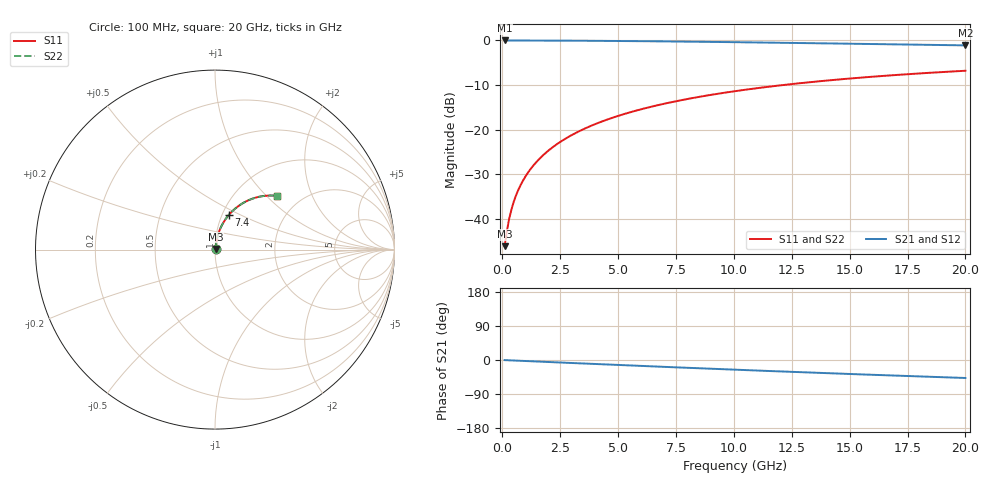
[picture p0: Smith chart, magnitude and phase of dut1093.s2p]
! Touchstone file exported from HFSS 2026.1.0
!  File:  C:/ffzhzh/LocalFiles/Ansys_Project_Files/temp_train_TMRDL_1093_1783161119_18472.aedt
!  Generated:  06:33:13 PM Jul  4, 2026
!  Design:  TMRDL
!  Project:  temp_train_TMRDL_1093_1783161119_18472
! Variables:
!  h_bsmrdl = 2um
!  h_ox = 20um
!  h_rdl = 5um
!  h_sub = 80um
!  h_tmrdl = 3.58um
!  h_tsv = 80um
!  h_via = 3um
!  l_bsmrdl = 300um
!  l_sub = 1086.43um
!  l_tmrdl = 686.43um
!  m_sub = 200um
!  pitch = 47.79um
!  r_tsv = 6um
!  s_tmrdl = 10um
!  w_bsmrdl = 18um
!  w_sub = 500um
!  w_tmrdl = 18.38um
!  x_tsv_center1 = 695.62um
!  x_tsv_center2 = 1013.62um
!  x_tsv_center3 = 1718.43um
!  x_tsv_center4 = 2036.43um
!  x_tsv_center5 = 2741.24um
!  x_tsv_center6 = 3059.24um
# GHz S MA R 50.000000
! Terminal data exported
! Port[1] = TM_RDL1_1_T1
! Port[2] = TM_RDL1_1_T2
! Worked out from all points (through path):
!   200 points, 100 MHz to 20 GHz, reference 50 ohm
!   highest |S21| = -0.03 dB at 100 MHz (marker M1); lowest = -1.1 dB at 20 GHz (marker M2)
!   group delay of S21, straight-line fit = 6.6 ps
!   lowest |S11| = -46.1 dB at 100 MHz (marker M3), VSWR 1.01, Z = 50.4 + j0.314 ohm
!   |S11| at or under -10 dB: start of sweep to 12.15 GHz
!   |S22| runs from -46.1 to -6.8 dB; largest |S21 - S12| = 3.4e-15
!   S11 on the Smith chart (normalised r, x): 100 MHz: 1.01, +0.01; 7.4 GHz: 1.07, +0.43; 20 GHz: 1.52, +1.15
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0.1  0.004956 39.0  0.9962 -0.3  0.9962 -0.3  0.004956 39.0
! Gamma 0 0 0 0
! Port Impedance 50 0 50 0
0.2  0.007375 57.0  0.996 -0.6  0.996 -0.6  0.007375 57.0
0.3  0.01011 65.2  0.9958 -0.8  0.9958 -0.8  0.01011 65.2
0.4  0.01291 69.6  0.9957 -1.1  0.9957 -1.1  0.01291 69.6
0.5  0.01572 72.4  0.9955 -1.4  0.9955 -1.4  0.01572 72.4
0.6  0.01855 74.4  0.9954 -1.6  0.9954 -1.6  0.01855 74.4
0.8  0.02421 76.8  0.9951 -2.1  0.9951 -2.1  0.02421 76.8
1.1  0.03274 78.6  0.9947 -2.9  0.9947 -2.9  0.03274 78.6
1.5  0.04418 79.5  0.9941 -4.0  0.9941 -4.0  0.04418 79.5
1.8  0.05277 79.7  0.9936 -4.8  0.9936 -4.8  0.05277 79.7
2.1  0.06135 79.6  0.993 -5.6  0.993 -5.6  0.06135 79.6
2.7  0.07844 78.8  0.9915 -7.1  0.9915 -7.1  0.07844 78.8
3.5  0.101 77.4  0.989 -9.2  0.989 -9.2  0.101 77.4
4.2  0.1205 75.9  0.9864 -11.0  0.9864 -11.0  0.1205 75.9
5  0.1424 74.1  0.983 -13.1  0.983 -13.1  0.1424 74.1
6.8  0.19 69.9  0.9737 -17.6  0.9737 -17.6  0.19 69.9
7.4  0.2054 68.5  0.9702 -19.1  0.9702 -19.1  0.2053 68.5
8.7  0.2376 65.5  0.9621 -22.3  0.9621 -22.3  0.2376 65.5
10.1  0.2707 62.2  0.9527 -25.7  0.9527 -25.7  0.2707 62.2
13.4  0.3421 54.8  0.9285 -33.3  0.9285 -33.3  0.3421 54.8
16.7  0.4038 47.7  0.9029 -40.6  0.9029 -40.6  0.4038 47.7
20  0.456 41.0  0.8776 -47.4  0.8776 -47.4  0.456 41.0
